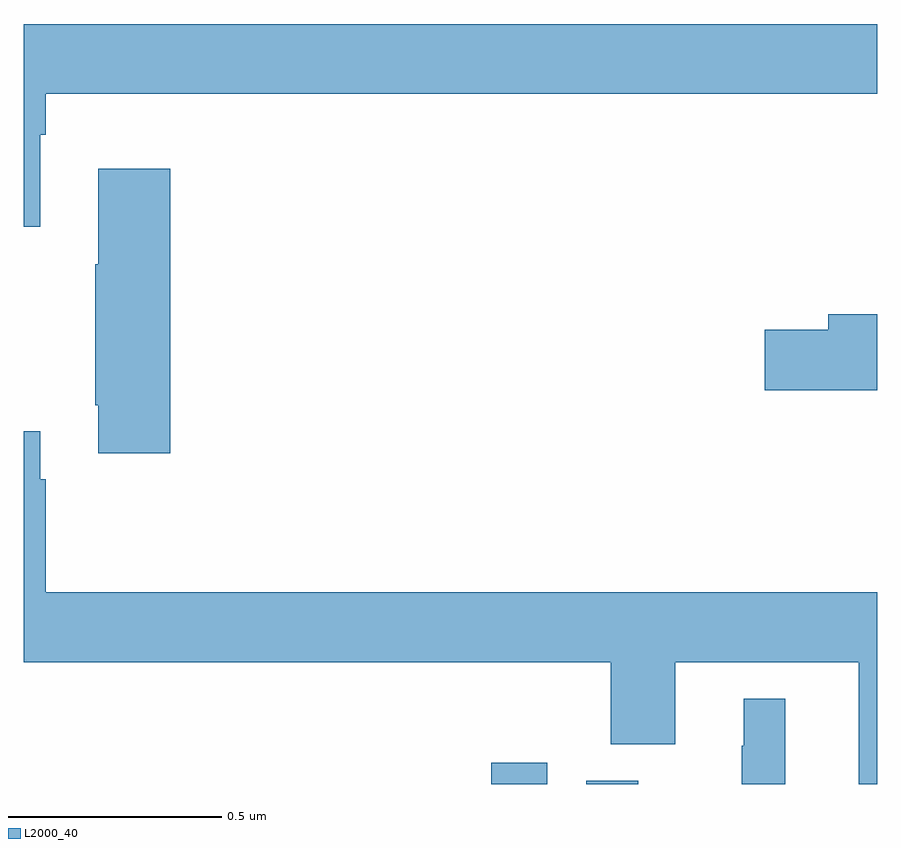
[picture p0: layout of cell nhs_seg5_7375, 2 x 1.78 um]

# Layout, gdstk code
import gdstk
lib = gdstk.Library(unit=1e-6, precision=1e-09)
def R(c, l, rs):  # rectangles x0, y0, x1, y1
    for r in rs: c.add(gdstk.rectangle(r[:2], r[2:], *l))
def P(c, l, *ps):  # polygons
    for p in ps: c.add(gdstk.Polygon(p, *l))
L2000_40 = (2000, 40)

nhs_seg5_7375 = lib.new_cell('nhs_seg5_7375')
R(nhs_seg5_7375, L2000_40, [(209.096,865.799,209.227,865.849), (209.318,865.799,209.44,865.807)])
P(nhs_seg5_7375, L2000_40, [(208.039,867.32),(208.052,867.32),(208.052,867.416),(210,867.416),(210,867.58),(208,867.58),(208,867.105),(208.039,867.105)],
  [(208.343,867.241),(208.175,867.241),(208.175,867.017),(208.168,867.017),(208.168,866.686),(208.175,866.686),(208.175,866.574),(208.343,866.574)],
  [(210,866.9),(209.885,866.9),(209.885,866.864),(209.736,866.864),(209.736,866.722),(210,866.722)],
  [(210,866.248),(208.052,866.248),(208.052,866.513),(208.039,866.513),(208.039,866.626),(208,866.626),(208,866.084),(209.375,866.084),(209.375,865.892),(209.527,865.892),(209.527,866.084),(209.957,866.084),(209.957,865.799),(210,865.799)],
  [(209.785,865.999),(209.687,865.999),(209.687,865.889),(209.683,865.889),(209.683,865.799),(209.785,865.799)])

lib.write_gds('nhs_seg5_7375.gds')
